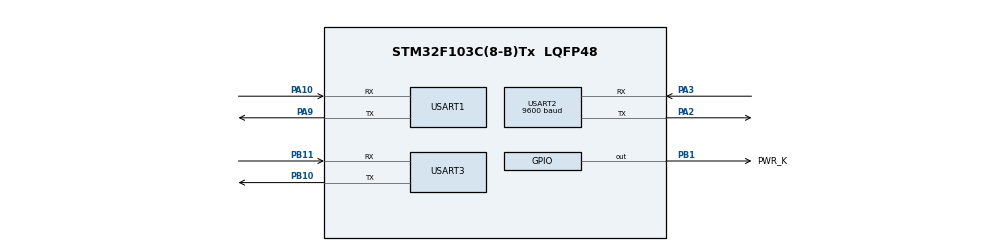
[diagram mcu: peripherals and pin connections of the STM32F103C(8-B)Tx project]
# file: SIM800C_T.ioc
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Dma.Request0=USART2_RX
Dma.USART2_RX.0.Direction=DMA_PERIPH_TO_MEMORY
Dma.USART2_RX.0.Instance=DMA1_Channel6
Dma.USART2_RX.0.MemDataAlignment=DMA_MDATAALIGN_BYTE
Dma.USART2_RX.0.MemInc=DMA_MINC_ENABLE
Dma.USART2_RX.0.Mode=DMA_CIRCULAR
Dma.USART2_RX.0.PeriphDataAlignment=DMA_PDATAALIGN_BYTE
Dma.USART2_RX.0.PeriphInc=DMA_PINC_DISABLE
Dma.USART2_RX.0.Priority=DMA_PRIORITY_LOW
Mcu.Family=STM32F1
Mcu.Name=STM32F103C(8-B)Tx
Mcu.Package=LQFP48
NVIC.DMA1_Channel6_IRQn=true\:0\:0\:false\:false\:true\:false\:true\:true
NVIC.PriorityGroup=NVIC_PRIORITYGROUP_4
NVIC.USART1_IRQn=true\:0\:0\:false\:false\:true\:true\:true\:true
NVIC.USART2_IRQn=true\:0\:0\:false\:false\:true\:true\:true\:true
PA10.Mode=Asynchronous
PA10.Signal=USART1_RX
PA13.Mode=Serial_Wire
PA13.Signal=SYS_JTMS-SWDIO
PA14.Mode=Serial_Wire
PA14.Signal=SYS_JTCK-SWCLK
PA2.Mode=Asynchronous
PA2.Signal=USART2_TX
PA3.Mode=Asynchronous
PA3.Signal=USART2_RX
PA9.Mode=Asynchronous
PA9.Signal=USART1_TX
PB1.GPIO_Label=PWR_K
PB1.GPIO_Speed=GPIO_SPEED_FREQ_MEDIUM
PB1.PinState=GPIO_PIN_SET
PB1.Signal=GPIO_Output
PB10.Mode=Asynchronous
PB10.Signal=USART3_TX
PB11.Mode=Asynchronous
PB11.Signal=USART3_RX
PD0-OSC_IN.Mode=HSE-External-Oscillator
PD0-OSC_IN.Signal=RCC_OSC_IN
PD1-OSC_OUT.Mode=HSE-External-Oscillator
PD1-OSC_OUT.Signal=RCC_OSC_OUT
ProjectManager.HeapSize=0x200
ProjectManager.StackSize=0x400
ProjectManager.TargetToolchain=STM32CubeIDE
RCC.APB1Freq_Value=8000000
RCC.APB2Freq_Value=8000000
RCC.SYSCLKSource=RCC_SYSCLKSOURCE_HSE
USART1.VirtualMode=VM_ASYNC
USART2.BaudRate=9600
USART2.VirtualMode=VM_ASYNC
USART3.VirtualMode=VM_ASYNC
board=custom

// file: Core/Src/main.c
/* USER CODE BEGIN Header */
/**
  ******************************************************************************
  * @file           : main.c
  * @brief          : Main program body
  ******************************************************************************
  * @attention
  *
  * Copyright (c) 2026 STMicroelectronics.
  * All rights reserved.
  *
  * This software is licensed under terms that can be found in the LICENSE file
  * in the root directory of this software component.
  * If no LICENSE file comes with this software, it is provided AS-IS.
  *
  ******************************************************************************
  */
/* USER CODE END Header */
#include "main.h"
#include <string.h>
#include <stdio.h>
#include <stdlib.h>

/* USER CODE BEGIN Includes */

#include "SIM800C.h"
#include "Network.h"

/* USER CODE END Includes */

UART_HandleTypeDef huart1;
UART_HandleTypeDef huart2;
UART_HandleTypeDef huart3;
DMA_HandleTypeDef hdma_usart2_rx;

/* USER CODE BEGIN PV */

GSM_Result_t res;
bool AT, SIM;

int __io_putchar(int ch)
{
    HAL_UART_Transmit(
        &huart3,
        (uint8_t *)&ch,
        1,
        HAL_MAX_DELAY);

    return ch;
}

void HAL_UART_RxCpltCallback(
        UART_HandleTypeDef *huart)
{
    if(huart->Instance == USART1)
    {
    	//printf("%c", gsm_rx_byte);
        if(gsm_rx_index <
           GSM_RX_BUFFER_SIZE-1)
        {
            gsm_rx_buffer[gsm_rx_index++] =
                    gsm_rx_byte;

            gsm_rx_buffer[gsm_rx_index] = 0;
        }

        HAL_UART_Receive_IT(
            &huart1,
            &gsm_rx_byte,
            1);
    }
}

/* USER CODE END PV */

void SystemClock_Config(void);
static void MX_GPIO_Init(void);
static void MX_DMA_Init(void);
static void MX_USART1_UART_Init(void);
static void MX_USART2_UART_Init(void);
static void MX_USART3_UART_Init(void);

int main(void)
{

  /* MCU Configuration--------------------------------------------------------*/

  /* Reset of all peripherals, Initializes the Flash interface and the Systick. */
  HAL_Init();

  /* Configure the system clock */
  SystemClock_Config();

  /* Initialize all configured peripherals */
  MX_GPIO_Init();
  MX_DMA_Init();
  MX_USART1_UART_Init();
  MX_USART2_UART_Init();
  MX_USART3_UART_Init();
  /* USER CODE BEGIN 2 */
  printf("System Start\r\n");

  HAL_GPIO_WritePin(PWR_K_GPIO_Port, PWR_K_Pin, GPIO_PIN_SET);
  HAL_Delay(2000);
  HAL_GPIO_WritePin(PWR_K_GPIO_Port, PWR_K_Pin, GPIO_PIN_RESET);
  HAL_Delay(5000);

  HAL_UART_Receive_IT(&huart1, &gsm_rx_byte, 1);

  //HAL_Delay(5000);

  GSM_ClearBuffer();

  GSM_InitResult_t gsmResult;

  gsmResult = GSM_Init();

  if(gsmResult == GSM_INIT_OK)
  {
      printf("SYSTEM READY\r\n");
  }
  else
  {
      printf("GSM INIT FAILED : %d\r\n", gsmResult);
  }

  Network_Init();

  char op[32];

  if(GSM_GetOperator(op, sizeof(op)))
  {
      printf("Operator = %s\r\n", op);
  }

  if(GSM_GPRS_Open("mcinet", "", ""))
  {
      char ip[32];

      if(GSM_GPRS_GetIP(ip, sizeof(ip)))
      {
          printf("IP = %s\r\n", ip);
      }
  }
  else
  {
      printf("GPRS FAILED\r\n");
  }

  char httpResponse[1024];

  if(GSM_HTTP_GET(
          "https://httpbin.org/get",
          httpResponse,
          sizeof(httpResponse)))
  {
      printf("GET SUCCESS\r\n");
      printf("%s\r\n", httpResponse);
  }
  else
  {
      printf("GET FAILED\r\n");
  }

  char response[1024];

  const char *json =
  "{\n"
  "  \"protocol\": 1,\n"
  "  \"device\": {\n"
  "    \"id\": \"CAR001\",\n"
  "    \"fw\": \"1.0.0\"\n"
  "  },\n"
  "  \"records\": [\n"
  "    {\n"
  "      \"measure_at\": 1750400000,\n"
  "      \"lat\": 35.72134,\n"
  "      \"lon\": 51.33829,\n"
  "      \"distance\": 152.5,\n"
  "      \"speed\": 68.4,\n"
  "      \"fuel_usage\": 5.8,\n"
  "      \"rpm\": 2450,\n"
  "      \"cell_signal\": 27,\n"
  "      \"operator\": \"MCI\",\n"
  "      \"temp\": 26.3,\n"
  "      \"retry_count\": 0\n"
  "    }\n"
  "  ]\n"
  "}";

  if(GSM_HTTP_POST(
          "https://httpbin.org/post",
          json,
          response,
          sizeof(response)))
  {
      printf("%s\r\n", response);
  }

  res = GSM_SendCommandEx(
      "AT+GMR\r\n",
      15000,
      "OK",
      "ERROR");

  printf("%s\r\n", gsm_rx_buffer);

  /*GSM_Result_t res1;

  res1 = GSM_SendCommandEx(
                "AT+CGATT?\r\n",
                5000,
                "OK",
                "ERROR");

        printf("AT+CGATT? Result = %d\r\n", res1);
        printf("%s\r\n", gsm_rx_buffer);

  res1 = GSM_SendCommandEx(
              "AT+CGREG?\r\n",
              5000,
              "OK",
              "ERROR");

      printf("AT+CGREG? Result = %d\r\n", res1);
      printf("%s\r\n", gsm_rx_buffer);

      res1 = GSM_SendCommandEx(
                  "AT+SAPBR=2,1\r\n",
                  5000,
                  "OK",
                  "ERROR");

      //printf("\r\n========== SAPBR ==========\r\n");
      printf("Result = %d\r\n", res1);
      printf("%s\r\n", gsm_rx_buffer);

      GSM_SendCommandEx("AT+HTTPTERM\r\n", 2000, "OK", "ERROR");

      res1 = GSM_SendCommandEx(
                        "AT+HTTPINIT\r\n",
                        5000,
                        "OK",
                        "ERROR");

      printf("Result = %d\r\n", res1);
      printf("%s\r\n", gsm_rx_buffer);

      res1 = GSM_SendCommandEx("AT+HTTPPARA=\"CID\",1\r\n", 2000, "OK", "ERROR");

      printf("Result = %d\r\n", res1);
      printf("%s\r\n", gsm_rx_buffer);

      GSM_SendCommandEx("AT+HTTPPARA=\"URL\",\"http://httpbin.org/get\"\r\n", 3000, "OK", "ERROR");

      res1 = GSM_SendCommandEx("AT+HTTPACTION=0\r\n", 15000, "+HTTPACTION", "ERROR");
      printf("Result = %d\r\n", res1);
      printf("%s\r\n", gsm_rx_buffer);

      res1 = GSM_SendCommandEx("AT+HTTPREAD\r\n", 5000, "OK", "ERROR");
      printf("Result = %d\r\n", res1);
      printf("%s\r\n", gsm_rx_buffer);*/

  /* USER CODE END 2 */

  /* Infinite loop */
  while (1)
  {

  }
}

void SystemClock_Config(void)
{
  RCC_OscInitTypeDef RCC_OscInitStruct = {0};
  RCC_ClkInitTypeDef RCC_ClkInitStruct = {0};

  /** Initializes the RCC Oscillators according to the specified parameters
  * in the RCC_OscInitTypeDef structure.
  */
  RCC_OscInitStruct.OscillatorType = RCC_OSCILLATORTYPE_HSE;
  RCC_OscInitStruct.HSEState = RCC_HSE_ON;
  RCC_OscInitStruct.PLL.PLLState = RCC_PLL_NONE;
  if (HAL_RCC_OscConfig(&RCC_OscInitStruct) != HAL_OK)
  {
    Error_Handler();
  }

  /** Initializes the CPU, AHB and APB buses clocks
  */
  RCC_ClkInitStruct.ClockType = RCC_CLOCKTYPE_HCLK|RCC_CLOCKTYPE_SYSCLK
                              |RCC_CLOCKTYPE_PCLK1|RCC_CLOCKTYPE_PCLK2;
  RCC_ClkInitStruct.SYSCLKSource = RCC_SYSCLKSOURCE_HSE;
  RCC_ClkInitStruct.AHBCLKDivider = RCC_SYSCLK_DIV1;
  RCC_ClkInitStruct.APB1CLKDivider = RCC_HCLK_DIV1;
  RCC_ClkInitStruct.APB2CLKDivider = RCC_HCLK_DIV1;

  if (HAL_RCC_ClockConfig(&RCC_ClkInitStruct, FLASH_LATENCY_0) != HAL_OK)
  {
    Error_Handler();
  }
}

static void MX_USART1_UART_Init(void)
{

  huart1.Instance = USART1;
  huart1.Init.BaudRate = 115200;
  huart1.Init.WordLength = UART_WORDLENGTH_8B;
  huart1.Init.StopBits = UART_STOPBITS_1;
  huart1.Init.Parity = UART_PARITY_NONE;
  huart1.Init.Mode = UART_MODE_TX_RX;
  huart1.Init.HwFlowCtl = UART_HWCONTROL_NONE;
  huart1.Init.OverSampling = UART_OVERSAMPLING_16;
  if (HAL_UART_Init(&huart1) != HAL_OK)
  {
    Error_Handler();
  }

}

static void MX_USART2_UART_Init(void)
{

  huart2.Instance = USART2;
  huart2.Init.BaudRate = 9600;
  huart2.Init.WordLength = UART_WORDLENGTH_8B;
  huart2.Init.StopBits = UART_STOPBITS_1;
  huart2.Init.Parity = UART_PARITY_NONE;
  huart2.Init.Mode = UART_MODE_TX_RX;
  huart2.Init.HwFlowCtl = UART_HWCONTROL_NONE;
  huart2.Init.OverSampling = UART_OVERSAMPLING_16;
  if (HAL_UART_Init(&huart2) != HAL_OK)
  {
    Error_Handler();
  }

}

static void MX_USART3_UART_Init(void)
{

  huart3.Instance = USART3;
  huart3.Init.BaudRate = 115200;
  huart3.Init.WordLength = UART_WORDLENGTH_8B;
  huart3.Init.StopBits = UART_STOPBITS_1;
  huart3.Init.Parity = UART_PARITY_NONE;
  huart3.Init.Mode = UART_MODE_TX_RX;
  huart3.Init.HwFlowCtl = UART_HWCONTROL_NONE;
  huart3.Init.OverSampling = UART_OVERSAMPLING_16;
  if (HAL_UART_Init(&huart3) != HAL_OK)
  {
    Error_Handler();
  }

}

static void MX_DMA_Init(void)
{

  /* DMA controller clock enable */
  __HAL_RCC_DMA1_CLK_ENABLE();

  /* DMA interrupt init */
  /* DMA1_Channel6_IRQn interrupt configuration */
  HAL_NVIC_SetPriority(DMA1_Channel6_IRQn, 0, 0);
  HAL_NVIC_EnableIRQ(DMA1_Channel6_IRQn);

}

static void MX_GPIO_Init(void)
{
  GPIO_InitTypeDef GPIO_InitStruct = {0};

  /* GPIO Ports Clock Enable */
  __HAL_RCC_GPIOD_CLK_ENABLE();
  __HAL_RCC_GPIOA_CLK_ENABLE();
  __HAL_RCC_GPIOB_CLK_ENABLE();

  /*Configure GPIO pin Output Level */
  HAL_GPIO_WritePin(PWR_K_GPIO_Port, PWR_K_Pin, GPIO_PIN_SET);

  /*Configure GPIO pin : PWR_K_Pin */
  GPIO_InitStruct.Pin = PWR_K_Pin;
  GPIO_InitStruct.Mode = GPIO_MODE_OUTPUT_PP;
  GPIO_InitStruct.Pull = GPIO_NOPULL;
  GPIO_InitStruct.Speed = GPIO_SPEED_FREQ_MEDIUM;
  HAL_GPIO_Init(PWR_K_GPIO_Port, &GPIO_InitStruct);

}

void Error_Handler(void)
{
  __disable_irq();
  while (1)
  {
  }
}
